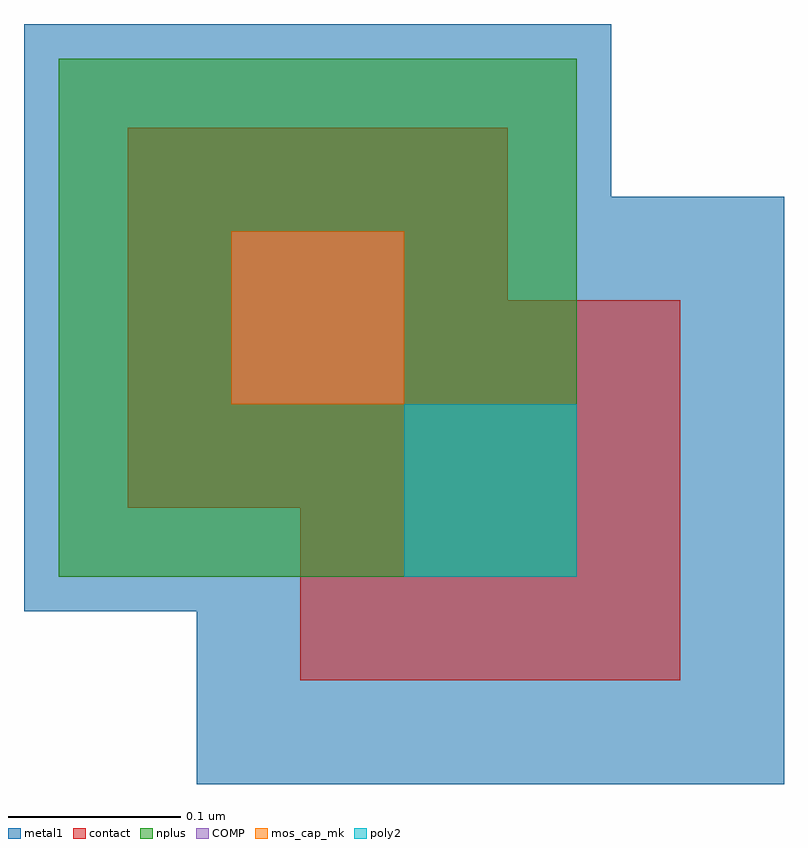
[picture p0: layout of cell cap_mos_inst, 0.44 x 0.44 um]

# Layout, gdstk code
import gdstk
lib = gdstk.Library(unit=1e-6, precision=1e-09)
def R(c, l, rs):  # rectangles x0, y0, x1, y1
    for r in rs: c.add(gdstk.rectangle(r[:2], r[2:], *l))
COMP = (22, 0)
poly2 = (30, 0)
nplus = (32, 0)
contact = (33, 0)
metal1 = (34, 0)
mos_cap_mk = (166, 5)

compass_5c90cb24 = lib.new_cell('compass_5c90cb24')
R(compass_5c90cb24, COMP, [(-0.05,-0.05,0.05,0.05)])

rectangle_5c90cb24 = lib.new_cell('rectangle_5c90cb24')
rectangle_5c90cb24.add(gdstk.Reference(compass_5c90cb24, (0.05,0.05)))

compass_9502332b = lib.new_cell('compass_9502332b')
R(compass_9502332b, mos_cap_mk, [(-0.05,-0.05,0.05,0.05)])

rectangle_9502332b = lib.new_cell('rectangle_9502332b')
rectangle_9502332b.add(gdstk.Reference(compass_9502332b, (0.05,0.05)))

compass_f38dc993 = lib.new_cell('compass_f38dc993')
R(compass_f38dc993, contact, [(-0.11,-0.11,0.11,0.11)])

rectangle_f38dc993 = lib.new_cell('rectangle_f38dc993')
rectangle_f38dc993.add(gdstk.Reference(compass_f38dc993, (0.11,0.11)))

via_generator_fb634f5e = lib.new_cell('via_generator_fb634f5e')
r = gdstk.Reference(rectangle_f38dc993, (-0.06,-0.06)); r.repetition = gdstk.Repetition(1, 1, v1=(0.5,0), v2=(0,0.5)); via_generator_fb634f5e.add(r)

compass_02b66c81 = lib.new_cell('compass_02b66c81')
R(compass_02b66c81, metal1, [(-0.17,-0.17,0.17,0.17)])

rectangle_02b66c81 = lib.new_cell('rectangle_02b66c81')
rectangle_02b66c81.add(gdstk.Reference(compass_02b66c81, (0.17,0.17)))

via_stack_e72d222e = lib.new_cell('via_stack_e72d222e')
via_stack_e72d222e.add(gdstk.Reference(via_generator_fb634f5e, (0,0)))
via_stack_e72d222e.add(gdstk.Reference(rectangle_02b66c81, (-0.12,-0.12)))

compass_fa26c4eb = lib.new_cell('compass_fa26c4eb')
R(compass_fa26c4eb, nplus, [(-0.15,-0.15,0.15,0.15)])

rectangle_fa26c4eb = lib.new_cell('rectangle_fa26c4eb')
rectangle_fa26c4eb.add(gdstk.Reference(compass_fa26c4eb, (0.15,0.15)))

compass_f8a344c4 = lib.new_cell('compass_f8a344c4')
R(compass_f8a344c4, poly2, [(-0.05,-0.05,0.05,0.05)])

rectangle_f8a344c4 = lib.new_cell('rectangle_f8a344c4')
rectangle_f8a344c4.add(gdstk.Reference(compass_f8a344c4, (0.05,0.05)))

via_generator_ab9b9bf2 = lib.new_cell('via_generator_ab9b9bf2')
r = gdstk.Reference(rectangle_f38dc993, (0.04,-0.16)); r.repetition = gdstk.Repetition(1, 1, v1=(0.5,0), v2=(0,0.5)); via_generator_ab9b9bf2.add(r)

via_stack_b0b91526 = lib.new_cell('via_stack_b0b91526')
via_stack_b0b91526.add(gdstk.Reference(via_generator_ab9b9bf2, (0,0)))
via_stack_b0b91526.add(gdstk.Reference(rectangle_02b66c81, (-0.02,-0.22)))

compass_8b7beeb3 = lib.new_cell('compass_8b7beeb3')
R(compass_8b7beeb3, metal1, [(-0.17,-0.17,0.17,0.17)])

rectangle_8b7beeb3 = lib.new_cell('rectangle_8b7beeb3')
rectangle_8b7beeb3.add(gdstk.Reference(compass_8b7beeb3, (0.17,0.17)))

cap_mos_inst = lib.new_cell('cap_mos_inst')
cap_mos_inst.add(gdstk.Reference(rectangle_5c90cb24, (0,0)))
cap_mos_inst.add(gdstk.Reference(rectangle_9502332b, (0,0)))
r = gdstk.Reference(via_stack_e72d222e, (0,0)); r.repetition = gdstk.Repetition(2, 1, v1=(0,0), v2=(0,1)); cap_mos_inst.add(r)
cap_mos_inst.add(gdstk.Reference(rectangle_fa26c4eb, (-0.1,-0.1)))
cap_mos_inst.add(gdstk.Reference(rectangle_f8a344c4, (0.1,-0.1)))
r = gdstk.Reference(via_stack_b0b91526, (0,0)); r.repetition = gdstk.Repetition(1, 2, v1=(1,0), v2=(0,0)); cap_mos_inst.add(r)
cap_mos_inst.add(gdstk.Reference(rectangle_8b7beeb3, (-0.02,-0.22)))

lib.write_gds('cap_mos_inst.gds')
